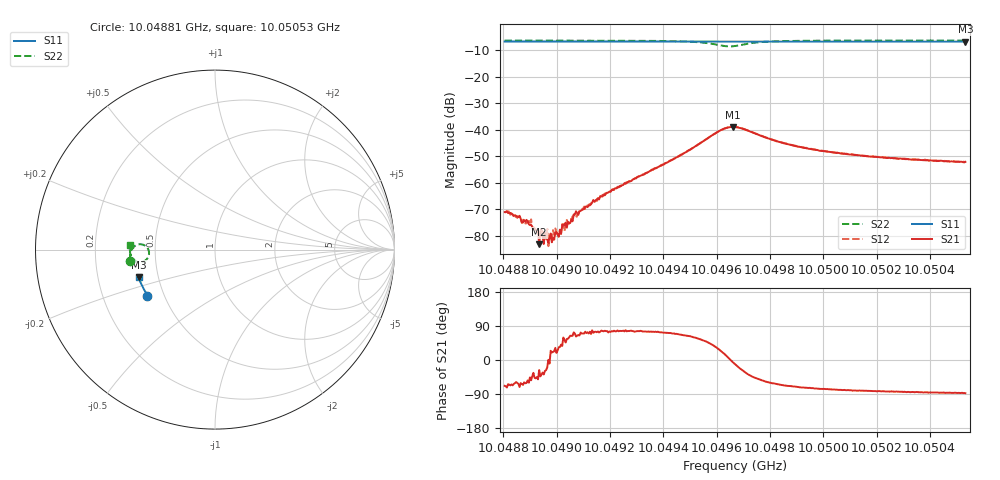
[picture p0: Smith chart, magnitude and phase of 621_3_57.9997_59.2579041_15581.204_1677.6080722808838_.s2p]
#  HZ  S  RI  R  50.00
! Rohde & Schwarz Vector Network Analyzer
! Rohde-Schwarz,ZNB20-2Port,1311601062101988,3.16
! Created: UTC 3/21/2024, 1:18:09 AM
! freq[Hz]  re:S11  im:S11  re:S21  im:S21  re:S12  im:S12  re:S22  im:S22
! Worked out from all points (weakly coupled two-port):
!   401 points, 10.04881 GHz to 10.05053 GHz, reference 50 ohm
!   highest |S21| = -38.96 dB at 10.04966 GHz (marker M1); lowest = -83.2 dB at 10.04893 GHz (marker M2)
!   lowest |S11| = -6.9 dB at 10.05053 GHz (marker M3), VSWR 2.65, Z = 19.4 - j7.51 ohm
!   |S11| at or under -10 dB: nowhere
!   |S22| runs from -8.7 to -6.4 dB; largest |S21 - S12| = 0.00084
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1.0048805e10  -0.3764 -0.2562  0.000105 -0.000261  0.000133 -0.000256  -0.472 -0.064
1.0048853e10  -0.3782 -0.2536  0.000114 -0.000204  0.000117 -0.000186  -0.4722 -0.0603
1.0048887e10  -0.3793 -0.2515  9.85e-05 -0.000175  0.000126 -0.000119  -0.4724 -0.0575
1.0048896e10  -0.3798 -0.251  8.34e-05 -0.000144  0.000132 -0.000139  -0.4724 -0.0569
1.0048935e10  -0.381 -0.249  6.21e-05 -3.1e-05  9.44e-05 -4.13e-05  -0.4728 -0.0537
1.0048969e10  -0.3822 -0.247  7.46e-05 8.22e-07  6.36e-05 -1.02e-05  -0.4729 -0.0509
1.0048995e10  -0.3831 -0.2455  9.66e-05 6.05e-05  0.000121 6.7e-05  -0.473 -0.0488
1.0049008e10  -0.3835 -0.2448  8.06e-05 5.34e-05  0.000104 4.77e-05  -0.4728 -0.0476
1.004903e10  -0.3842 -0.2436  9.49e-05 0.000128  7.81e-05 9.53e-05  -0.473 -0.0457
1.0049047e10  -0.3849 -0.2425  8.64e-05 0.000149  6.68e-05 0.000158  -0.4731 -0.0442
1.0049073e10  -0.3858 -0.2411  0.000137 0.000258  7.07e-05 0.000206  -0.4729 -0.0417
1.0049095e10  -0.3864 -0.2398  0.000108 0.000289  0.000101 0.000303  -0.4729 -0.0398
1.0049216e10  -0.3903 -0.2328  0.000168 0.000747  0.000126 0.000725  -0.4721 -0.0278
1.0049384e10  -0.3956 -0.223  0.000572 0.00194  0.000465 0.00197  -0.4669 -0.00579
1.0049479e10  -0.3987 -0.2173  0.00154 0.00331  0.00132 0.00341  -0.4561 0.0124
1.0049609e10  -0.4014 -0.2095  0.00827 0.00442  0.00791 0.00496  -0.3899 0.0219
1.0049661e10  -0.4026 -0.2069  0.0112 -0.00108  0.0113 -0.000259  -0.3684 -0.0313
1.0049669e10  -0.4029 -0.2065  0.011 -0.00215  0.0112 -0.00138  -0.3718 -0.0413
1.0049777e10  -0.4066 -0.2008  0.00416 -0.00601  0.00462 -0.00579  -0.444 -0.063
1.0049959e10  -0.4118 -0.1896  0.00116 -0.00413  0.00137 -0.00406  -0.4702 -0.028
1.0050248e10  -0.4191 -0.172  0.000337 -0.00294  0.00052 -0.00288  -0.4753 0.00364
1.0050533e10  -0.4252 -0.1544  9.36e-05 -0.00248  0.000271 -0.00245  -0.475 0.0271
